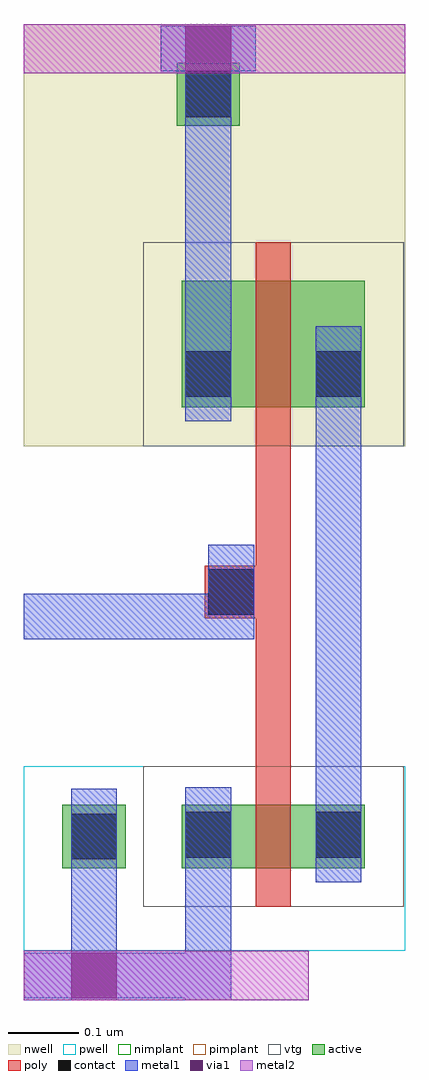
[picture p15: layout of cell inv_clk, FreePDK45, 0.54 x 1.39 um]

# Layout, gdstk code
import gdstk
lib = gdstk.Library(unit=1e-6, precision=5e-10)
def R(c, l, rs):  # rectangles x0, y0, x1, y1
    for r in rs: c.add(gdstk.rectangle(r[:2], r[2:], *l))
active = (1, 0)
pwell = (2, 0)
nwell = (3, 0)
nimplant = (4, 0)
pimplant = (5, 0)
vtg = (6, 0)
poly = (9, 0)
contact = (10, 0)
metal1 = (11, 0)
via1 = (12, 0)
metal2 = (13, 0)

pcont_2 = lib.new_cell('pcont_2')
R(pcont_2, poly, [(-0.0375,-0.0375,0.0375,0.0375)])
R(pcont_2, contact, [(-0.0325,-0.0325,0.0325,0.0325)])
R(pcont_2, metal1, [(-0.0325,-0.0675,0.0325,0.0675)])

m2_m1_viab = lib.new_cell('M2_M1_viaB')
R(m2_m1_viab, metal1, [(-0.0675,-0.0325,0.0675,0.0325)])
R(m2_m1_viab, via1, [(-0.0325,-0.0325,0.0325,0.0325)])
R(m2_m1_viab, metal2, [(-0.0675,-0.035,0.0675,0.035)])

dcont_25 = lib.new_cell('dcont_25')
R(dcont_25, active, [(-0.0375,0.03,0.0375,0.105)])
R(dcont_25, contact, [(-0.0325,0.035,0.0325,0.1)])
R(dcont_25, metal1, [(-0.0325,0,0.0325,0.135)])

pmos_vtg_4 = lib.new_cell('pmos_vtg_4')
R(pmos_vtg_4, active, [(-0.105,0,0.155,0.18), (-0.105,0,-0.03,0.18), (0.08,0,0.155,0.18), (-0.105,0.01,-0.03,0.085), (0.08,0.01,0.155,0.085)])
R(pmos_vtg_4, nwell, [(-0.16,-0.055,0.21,0.235)])
R(pmos_vtg_4, pimplant, [(-0.105,0,0.155,0.18)])
R(pmos_vtg_4, vtg, [(-0.16,-0.055,0.21,0.235)])
R(pmos_vtg_4, poly, [(0,-0.055,0.05,0), (0,-0.055,0.05,0.235), (0,0.18,0.05,0.235)])
pmos_vtg_4.add(gdstk.Reference(dcont_25, (0.1175,-0.02)))
pmos_vtg_4.add(gdstk.Reference(dcont_25, (-0.0675,-0.02)))
pmos_vtg_4.add(gdstk.Label('l = 0.05', (0.06,0.09), layer=239, texttype=0))
pmos_vtg_4.add(gdstk.Label('w = 0.18', (0.025,0.245), layer=239, texttype=0))

nmos_vtg_5 = lib.new_cell('nmos_vtg_5')
R(nmos_vtg_5, active, [(-0.105,0,0.155,0.09), (-0.105,0,-0.03,0.09), (0.08,0,0.155,0.09), (-0.105,0.01,-0.03,0.085), (0.08,0.01,0.155,0.085)])
R(nmos_vtg_5, pwell, [(-0.16,-0.055,0.21,0.145)])
R(nmos_vtg_5, nimplant, [(-0.105,0,0.155,0.09)])
R(nmos_vtg_5, vtg, [(-0.16,-0.055,0.21,0.145)])
R(nmos_vtg_5, poly, [(0,-0.055,0.05,0), (0,-0.055,0.05,0.145), (0,0.09,0.05,0.145)])
nmos_vtg_5.add(gdstk.Reference(dcont_25, (0.1175,-0.02)))
nmos_vtg_5.add(gdstk.Reference(dcont_25, (-0.0675,-0.02)))
nmos_vtg_5.add(gdstk.Label('l = 0.05', (0.06,0.045), layer=239, texttype=0))
nmos_vtg_5.add(gdstk.Label('w = 0.09', (0.025,0.155), layer=239, texttype=0))

ntap_1 = lib.new_cell('NTAP_1')
R(ntap_1, active, [(-0.045,-0.045,0.045,0.045)])
R(ntap_1, nwell, [(-0.1,-0.1,0.1,0.1)])
R(ntap_1, nimplant, [(-0.045,-0.045,0.045,0.045)])
R(ntap_1, contact, [(-0.0325,-0.0325,0.0325,0.0325)])
R(ntap_1, metal1, [(-0.0325,-0.0675,0.0325,0.0675)])

ptap_0 = lib.new_cell('PTAP_0')
R(ptap_0, active, [(-0.045,-0.045,0.045,0.045)])
R(ptap_0, pwell, [(-0.1,-0.1,0.1,0.1)])
R(ptap_0, pimplant, [(-0.045,-0.045,0.045,0.045)])
R(ptap_0, contact, [(-0.0325,-0.0325,0.0325,0.0325)])
R(ptap_0, metal1, [(-0.0325,-0.0675,0.0325,0.0675)])

inv_clk = lib.new_cell('inv_clk')
R(inv_clk, pwell, [(0.0625,0.175,0.605,0.4375)])
R(inv_clk, nwell, [(0.0625,0.8925,0.605,1.4925)])
R(inv_clk, poly, [(0.3925,0.4325,0.4425,1.0925)])
R(inv_clk, metal1, [(0.13,0.105,0.195,0.35), (0.2925,0.105,0.3575,0.35), (0.0625,0.1075,0.3575,0.1725), (0.4775,0.4025,0.5425,1.03), (0.0625,0.6175,0.39,0.6825), (0.2925,1.045,0.3575,1.455)])
R(inv_clk, metal2, [(0.0625,0.105,0.4675,0.175), (0.0625,1.4225,0.605,1.4925)])
inv_clk.add(gdstk.Reference(pcont_2, (0.3575,0.685)))
inv_clk.add(gdstk.Reference(m2_m1_viab, (0.1625,0.14)))
inv_clk.add(gdstk.Reference(m2_m1_viab, (0.325,1.4575)))
inv_clk.add(gdstk.Reference(pmos_vtg_4, (0.3925,0.9475)))
inv_clk.add(gdstk.Reference(nmos_vtg_5, (0.3925,0.2925)))
inv_clk.add(gdstk.Reference(ntap_1, (0.325,1.3925)))
inv_clk.add(gdstk.Reference(ptap_0, (0.1625,0.3375)))

lib.write_gds('inv_clk.gds')
